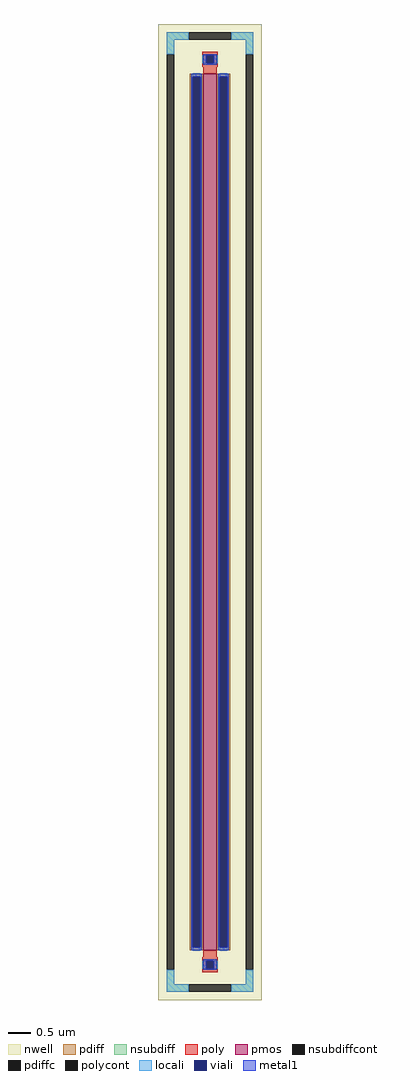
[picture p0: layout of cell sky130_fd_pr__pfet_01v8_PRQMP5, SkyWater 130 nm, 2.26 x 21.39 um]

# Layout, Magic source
magic
tech sky130A
magscale 1 2
<< nwell >>
rect -226 -2139 226 2139
<< pmos >>
rect -30 -1920 30 1920
<< pdiff >>
rect -88 1908 -30 1920
rect -88 -1908 -76 1908
rect -42 -1908 -30 1908
rect -88 -1920 -30 -1908
rect 30 1908 88 1920
rect 30 -1908 42 1908
rect 76 -1908 88 1908
rect 30 -1920 88 -1908
<< pdiffc >>
rect -76 -1908 -42 1908
rect 42 -1908 76 1908
<< nsubdiff >>
rect -190 2069 -94 2103
rect 94 2069 190 2103
rect -190 2007 -156 2069
rect 156 2007 190 2069
rect -190 -2069 -156 -2007
rect 156 -2069 190 -2007
rect -190 -2103 -94 -2069
rect 94 -2103 190 -2069
<< nsubdiffcont >>
rect -94 2069 94 2103
rect -190 -2007 -156 2007
rect 156 -2007 190 2007
rect -94 -2103 94 -2069
<< poly >>
rect -33 2001 33 2017
rect -33 1967 -17 2001
rect 17 1967 33 2001
rect -33 1951 33 1967
rect -30 1920 30 1951
rect -30 -1951 30 -1920
rect -33 -1967 33 -1951
rect -33 -2001 -17 -1967
rect 17 -2001 33 -1967
rect -33 -2017 33 -2001
<< polycont >>
rect -17 1967 17 2001
rect -17 -2001 17 -1967
<< locali >>
rect -190 2069 -94 2103
rect 94 2069 190 2103
rect -190 2007 -156 2069
rect 156 2007 190 2069
rect -33 1967 -17 2001
rect 17 1967 33 2001
rect -76 1908 -42 1924
rect -76 -1924 -42 -1908
rect 42 1908 76 1924
rect 42 -1924 76 -1908
rect -33 -2001 -17 -1967
rect 17 -2001 33 -1967
rect -190 -2069 -156 -2007
rect 156 -2069 190 -2007
rect -190 -2103 -94 -2069
rect 94 -2103 190 -2069
<< viali >>
rect -17 1967 17 2001
rect -76 -1908 -42 1908
rect 42 -1908 76 1908
rect -17 -2001 17 -1967
<< metal1 >>
rect -29 2001 29 2007
rect -29 1967 -17 2001
rect 17 1967 29 2001
rect -29 1961 29 1967
rect -82 1908 -36 1920
rect -82 -1908 -76 1908
rect -42 -1908 -36 1908
rect -82 -1920 -36 -1908
rect 36 1908 82 1920
rect 36 -1908 42 1908
rect 76 -1908 82 1908
rect 36 -1920 82 -1908
rect -29 -1967 29 -1961
rect -29 -2001 -17 -1967
rect 17 -2001 29 -1967
rect -29 -2007 29 -2001
<< properties >>
string FIXED_BBOX -173 -2086 173 2086
string gencell sky130_fd_pr__pfet_01v8
string library sky130
string parameters w 19.2 l 0.3 m 1 nf 1 diffcov 100 polycov 100 guard 1 glc 1 grc 1 gtc 1 gbc 1 tbcov 100 rlcov 100 topc 1 botc 1 poverlap 0 doverlap 1 lmin 0.15 wmin 0.42 compatible {sky130_fd_pr__pfet_01v8  sky130_fd_pr__pfet_01v8_lvt sky130_fd_pr__pfet_01v8_hvt  sky130_fd_pr__pfet_g5v0d10v5} full_metal 1 viasrc 100 viadrn 100 viagate 100 viagb 0 viagr 0 viagl 0 viagt 0
<< end >>
